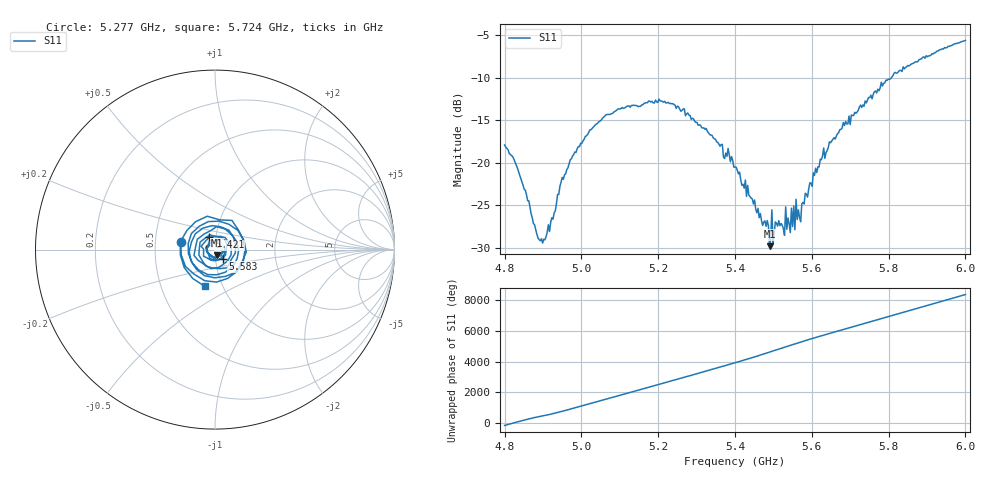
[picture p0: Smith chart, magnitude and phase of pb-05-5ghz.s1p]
! NanoVNA-App
! Date: 2026-05-22 17:25:48
! Start: 4.8GHz Stop: 6GHz Points: 401
! S-Parameter data: F S11
# Hz S RI R 50
!  Frequency  S11_Real  S11_Imag
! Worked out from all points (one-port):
!   401 points, 4.8 GHz to 6 GHz, reference 50 ohm
!   lowest |S11| = -29.8 dB at 5.49 GHz (marker M1), VSWR 1.07, Z = 50.8 - j3.16 ohm
!   |S11| at or under -10 dB: start of sweep to 5.807 GHz
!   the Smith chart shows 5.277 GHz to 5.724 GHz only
!   S11 on the Smith chart (normalised r, x): 5.277 GHz: 0.68, +0.06; 5.421 GHz: 0.93, +0.13; 5.583 GHz: 1.08, -0.11; 5.724 GHz: 0.82, -0.35
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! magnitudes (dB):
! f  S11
! 4.8 GHz  -17.9
! 4.83 GHz  -20.2
! 4.893 GHz  -29.1
! 4.905 GHz  -29.0
! 4.923 GHz  -26.4
! 4.95 GHz  -21.7
! 4.977 GHz  -19.2
! 5.025 GHz  -16.1
! 5.1 GHz  -13.7
! 5.199 GHz  -12.9
! 5.25 GHz  -13.3
! 5.277 GHz  -14.2
! 5.361 GHz  -18.1
! 5.4 GHz  -20.5
! 5.421 GHz  -22.5
! 5.487 GHz  -27.4
! 5.49 GHz  -29.8
! 5.496 GHz  -25.5
! 5.511 GHz  -27.4
! 5.55 GHz  -27.5
! 5.553 GHz  -25.1
! 5.568 GHz  -26.4
! 5.583 GHz  -23.6
! 5.625 GHz  -19.6
! 5.7 GHz  -15.5
! 5.724 GHz  -13.5
! 5.85 GHz  -8.6
! 6 GHz  -5.6
